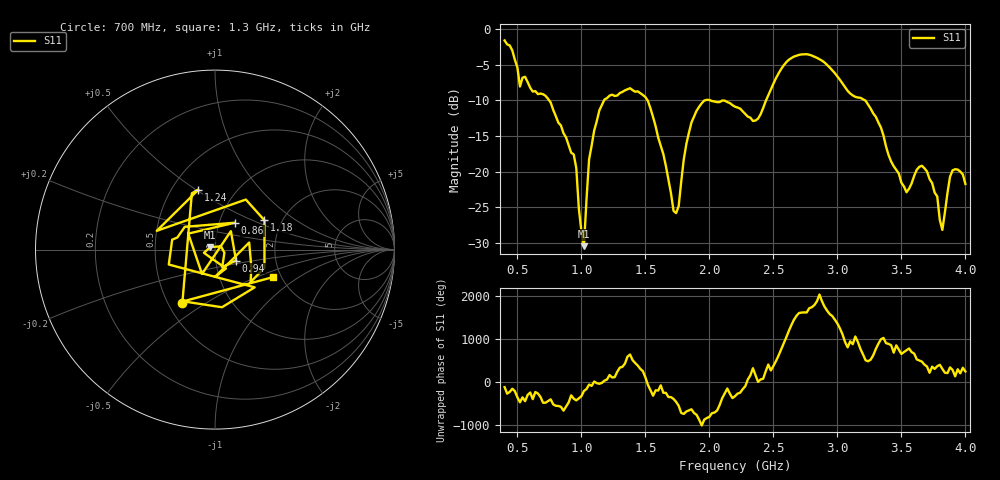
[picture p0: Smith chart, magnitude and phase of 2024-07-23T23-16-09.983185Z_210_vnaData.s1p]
!Created with skrf (http://scikit-rf.org).
# Hz S RI R 50.0
!freq ReS11 ImS11
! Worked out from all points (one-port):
!   181 points, 400 MHz to 4 GHz, reference 50 ohm
!   lowest |S11| = -30.5 dB at 1.02 GHz (marker M1), VSWR 1.06, Z = 47.4 + j1.32 ohm
!   |S11| at or under -10 dB: 1.516 GHz to 1.966 GHz (449.9 MHz wide, 25.8 % of centre); 2.006 GHz to 2.443 GHz (436.3 MHz wide, 19.6 % of centre); 3.215 GHz to end of sweep (the widest 3 of 4)
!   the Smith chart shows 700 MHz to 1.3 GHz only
!   S11 on the Smith chart (normalised r, x): 700 MHz: 0.59, -0.40; 860 MHz: 1.19, +0.37; 940 MHz: 1.25, -0.16; 1.18 GHz: 1.63, +0.59; 1.24 GHz: 0.67, +0.51; 1.3 GHz: 1.80, -0.63
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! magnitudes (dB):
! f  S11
! 400 MHz  -1.6
! 460 MHz  -3.0
! 520 MHz  -8.1
! 700 MHz  -9.1
! 860 MHz  -14.6
! 940 MHz  -17.6
! 1.02 GHz  -30.5
! 1.06 GHz  -18.3
! 1.18 GHz  -9.9
! 1.24 GHz  -9.2
! 1.3 GHz  -9.0
! 1.52 GHz  -10.1
! 1.72 GHz  -25.5
! 1.76 GHz  -24.8
! 1.82 GHz  -16.1
! 1.9 GHz  -11.5
! 2.2 GHz  -10.9
! 2.38 GHz  -12.6
! 2.66 GHz  -3.9
! 2.88 GHz  -4.4
! 3.1 GHz  -9.0
! 3.3 GHz  -12.3
! 3.56 GHz  -22.4
! 3.68 GHz  -19.5
! 3.78 GHz  -23.5
! 3.82 GHz  -28.2
! 3.9 GHz  -19.8
! 4 GHz  -21.7
